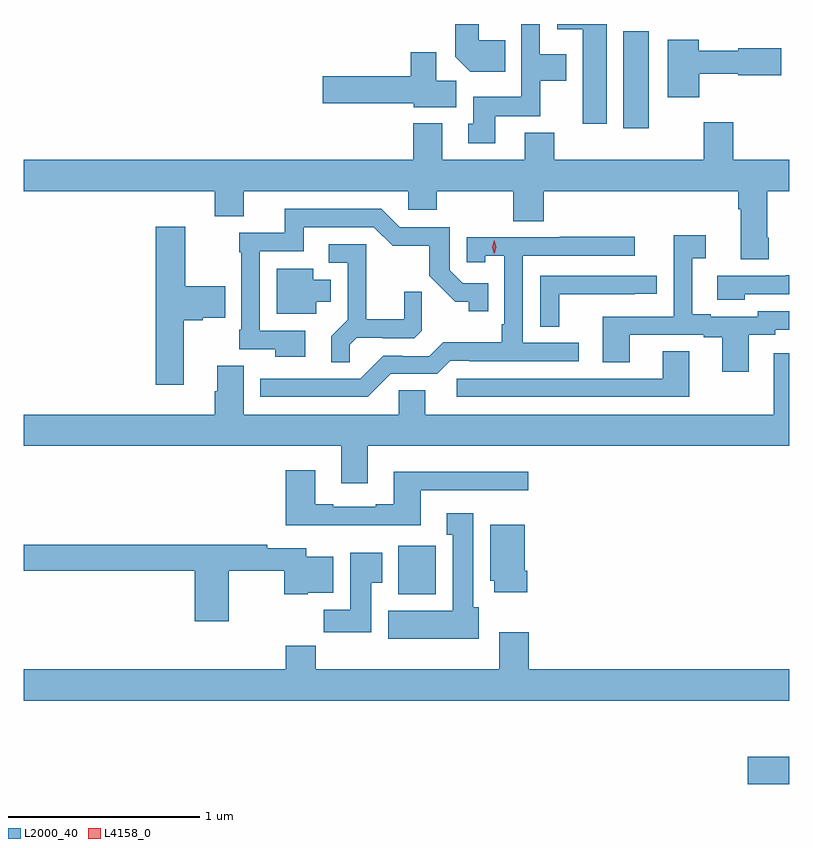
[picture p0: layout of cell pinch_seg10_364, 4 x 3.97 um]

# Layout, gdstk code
import gdstk
lib = gdstk.Library(unit=1e-6, precision=1e-09)
def R(c, l, rs):  # rectangles x0, y0, x1, y1
    for r in rs: c.add(gdstk.rectangle(r[:2], r[2:], *l))
def P(c, l, *ps):  # polygons
    for p in ps: c.add(gdstk.Polygon(p, *l))
L2000_40 = (2000, 40)
L4158_0 = (4158, 0)

pinch_seg10_364 = lib.new_cell('pinch_seg10_364')
R(pinch_seg10_364, L2000_40, [(529.194,1258.589,529.411,1258.731), (527.369,1259.582,527.565,1259.833), (528.545,1262.016,528.676,1262.524)])
P(pinch_seg10_364, L2000_40, [(527.875,1262.078),(528.111,1262.078),(528.111,1262.264),(528.247,1262.264),(528.247,1262.404),(528.108,1262.404),(528.108,1262.561),(528.012,1262.561),(528.012,1262.182),(527.759,1262.182),(527.759,1262.04),(527.735,1262.04),(527.735,1261.938),(527.875,1261.938)],
  [(527.927,1262.476),(527.788,1262.476),(527.788,1262.561),(527.666,1262.561),(527.666,1262.39),(527.744,1262.312),(527.927,1262.312)],
  [(528.457,1262.561),(528.198,1262.561),(528.198,1262.534),(528.332,1262.534),(528.332,1262.04),(528.457,1262.04)],
  [(528.94,1262.3),(529.146,1262.3),(529.146,1262.293),(529.369,1262.293),(529.369,1262.435),(529.146,1262.435),(529.146,1262.422),(528.938,1262.422),(528.938,1262.479),(528.776,1262.479),(528.776,1262.178),(528.94,1262.178)],
  [(527.671,1262.264),(527.566,1262.264),(527.566,1262.413),(527.432,1262.413),(527.432,1262.288),(526.974,1262.288),(526.974,1262.146),(527.448,1262.146),(527.448,1262.126),(527.671,1262.126)],
  [(529.305,1261.444),(529.297,1261.444),(529.297,1261.688),(529.411,1261.688),(529.411,1261.852),(529.118,1261.852),(529.118,1262.047),(528.965,1262.047),(528.965,1261.852),(528.182,1261.852),(528.182,1261.993),(528.029,1261.993),(528.029,1261.852),(527.599,1261.852),(527.599,1262.041),(527.447,1262.041),(527.447,1261.852),(525.411,1261.852),(525.411,1261.688),(526.409,1261.688),(526.409,1261.555),(526.561,1261.555),(526.561,1261.688),(527.421,1261.688),(527.421,1261.59),(527.568,1261.59),(527.568,1261.688),(527.968,1261.688),(527.968,1261.531),(528.128,1261.531),(528.128,1261.688),(529.145,1261.688),(529.145,1261.592),(529.157,1261.592),(529.157,1261.332),(529.305,1261.332)],
  [(526.882,1260.957),(526.644,1260.957),(526.644,1261.374),(526.873,1261.374),(526.873,1261.5),(527.241,1261.5),(527.34,1261.402),(527.529,1261.402),(527.529,1261.246),(527.666,1261.109),(527.736,1261.109),(527.736,1261.059),(527.837,1261.059),(527.837,1261.206),(527.706,1261.206),(527.637,1261.275),(527.637,1261.5),(527.376,1261.5),(527.28,1261.596),(526.775,1261.596),(526.775,1261.47),(526.536,1261.47),(526.536,1261.367),(526.548,1261.367),(526.548,1260.964),(526.536,1260.964),(526.536,1260.861),(526.726,1260.861),(526.726,1260.821),(526.882,1260.821)],
  [(526.246,1261.013),(526.347,1261.013),(526.347,1261.025),(526.463,1261.025),(526.463,1261.191),(526.254,1261.191),(526.254,1261.501),(526.1,1261.501),(526.1,1260.675),(526.246,1260.675)],
  [(529.201,1260.936),(529.338,1260.936),(529.338,1260.963),(529.411,1260.963),(529.411,1261.059),(529.248,1261.059),(529.248,1261.032),(529,1261.032),(529,1261.045),(528.904,1261.045),(528.904,1261.336),(528.976,1261.336),(528.976,1261.456),(528.807,1261.456),(528.807,1261.032),(528.437,1261.032),(528.437,1260.793),(528.577,1260.793),(528.577,1260.936),(528.965,1260.936),(528.965,1260.924),(529.061,1260.924),(529.061,1260.744),(529.201,1260.744)],
  [(527.328,1260.732),(527.571,1260.732),(527.64,1260.801),(527.74,1260.801),(527.74,1260.798),(528.31,1260.798),(528.31,1260.894),(528.018,1260.894),(528.018,1261.35),(528.604,1261.35),(528.604,1261.449),(528.211,1261.449),(528.211,1261.446),(527.727,1261.446),(527.727,1261.317),(527.823,1261.317),(527.823,1261.349),(527.922,1261.349),(527.922,1260.991),(527.91,1260.991),(527.91,1260.898),(527.602,1260.898),(527.529,1260.825),(527.39,1260.825),(527.39,1260.828),(527.289,1260.828),(527.169,1260.708),(526.646,1260.708),(526.646,1260.612),(527.208,1260.612)],
  [(527.115,1260.884),(527.152,1260.921),(527.286,1260.921),(527.286,1260.918),(527.451,1260.918),(527.492,1260.959),(527.492,1261.161),(527.398,1261.161),(527.398,1261.018),(527.201,1261.018),(527.201,1261.41),(527.004,1261.41),(527.004,1261.314),(527.103,1261.314),(527.103,1261.015),(527.017,1260.929),(527.017,1260.793),(527.115,1260.793)],
  [(526.939,1261.109),(527.014,1261.109),(527.014,1261.225),(526.924,1261.225),(526.924,1261.282),(526.733,1261.282),(526.733,1261.046),(526.939,1261.046)],
  [(529.179,1261.149),(529.411,1261.149),(529.411,1261.248),(529.393,1261.248),(529.393,1261.245),(529.035,1261.245),(529.035,1261.121),(529.179,1261.121)],
  [(528.21,1261.149),(528.605,1261.149),(528.605,1261.15),(528.718,1261.15),(528.718,1261.245),(528.111,1261.245),(528.111,1260.979),(528.21,1260.979)],
  [(528.889,1260.851),(528.749,1260.851),(528.749,1260.708),(527.673,1260.708),(527.673,1260.612),(528.889,1260.612)],
  [(527.209,1260.356),(529.411,1260.356),(529.411,1260.841),(529.331,1260.841),(529.331,1260.52),(527.509,1260.52),(527.509,1260.647),(527.37,1260.647),(527.37,1260.52),(526.561,1260.52),(526.561,1260.776),(526.421,1260.776),(526.421,1260.642),(526.409,1260.642),(526.409,1260.52),(525.411,1260.52),(525.411,1260.356),(527.069,1260.356),(527.069,1260.162),(527.209,1260.162)],
  [(527.485,1260.123),(528.046,1260.123),(528.046,1260.22),(527.345,1260.22),(527.345,1260.052),(527.249,1260.052),(527.249,1260.039),(527.029,1260.039),(527.029,1260.052),(526.933,1260.052),(526.933,1260.229),(526.781,1260.229),(526.781,1259.942),(527.485,1259.942)],
  [(527.788,1259.514),(527.761,1259.514),(527.761,1260.004),(527.621,1260.004),(527.621,1259.891),(527.654,1259.891),(527.654,1259.494),(527.315,1259.494),(527.315,1259.348),(527.788,1259.348)],
  [(528.041,1259.704),(528.028,1259.704),(528.028,1259.944),(527.849,1259.944),(527.849,1259.652),(527.87,1259.652),(527.87,1259.592),(528.041,1259.592)],
  [(526.482,1259.704),(526.771,1259.704),(526.771,1259.582),(526.896,1259.582),(526.896,1259.588),(527.029,1259.588),(527.029,1259.776),(526.888,1259.776),(526.888,1259.82),(526.682,1259.82),(526.682,1259.84),(525.411,1259.84),(525.411,1259.704),(526.304,1259.704),(526.304,1259.439),(526.482,1259.439)],
  [(527.227,1259.641),(527.284,1259.641),(527.284,1259.797),(527.117,1259.797),(527.117,1259.5),(526.978,1259.5),(526.978,1259.382),(527.227,1259.382)],
  [(529.411,1259.188),(528.05,1259.188),(528.05,1259.383),(527.897,1259.383),(527.897,1259.188),(526.937,1259.188),(526.937,1259.312),(526.781,1259.312),(526.781,1259.188),(525.411,1259.188),(525.411,1259.024),(529.411,1259.024)])
P(pinch_seg10_364, L4158_0, [(527.869,1261.359),(527.869,1261.359),(527.859,1261.395),(527.869,1261.43),(527.869,1261.43),(527.869,1261.43),(527.879,1261.395),(527.869,1261.359)])

lib.write_gds('pinch_seg10_364.gds')
